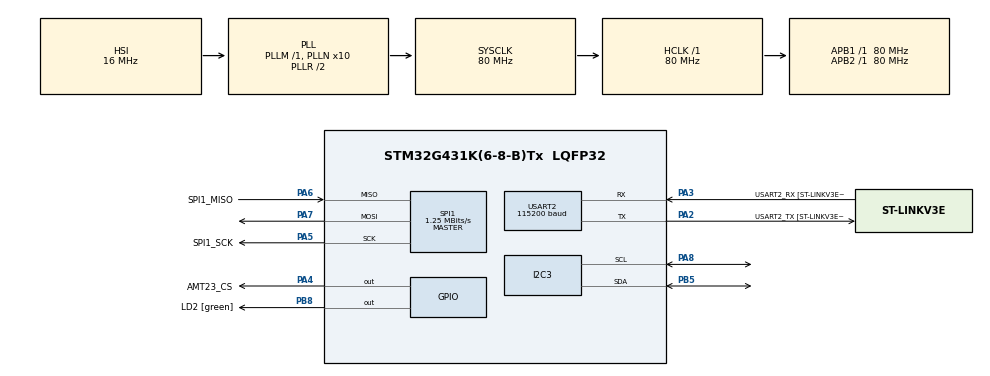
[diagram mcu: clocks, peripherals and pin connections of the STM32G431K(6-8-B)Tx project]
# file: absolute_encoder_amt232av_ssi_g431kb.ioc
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I2C3.Timing=0x10D19CE4
Mcu.Family=STM32G4
Mcu.Name=STM32G431K(6-8-B)Tx
Mcu.Package=LQFP32
NVIC.PriorityGroup=NVIC_PRIORITYGROUP_4
NVIC.SPI1_IRQn=true\:0\:0\:false\:false\:true\:true\:true\:true
PA13.GPIO_Label=T_SWDIO
PA13.Mode=Serial_Wire
PA13.Signal=SYS_JTMS-SWDIO
PA14.GPIO_Label=T_SWCLK
PA14.Mode=Serial_Wire
PA14.Signal=SYS_JTCK-SWCLK
PA2.GPIO_Label=USART2_TX [ST-LINKV3E_VCP_RX]
PA2.Mode=Asynchronous
PA2.Signal=USART2_TX
PA3.GPIO_Label=USART2_RX [ST-LINKV3E_VCP_TX]
PA3.Mode=Asynchronous
PA3.Signal=USART2_RX
PA4.GPIO_Label=AMT23_CS
PA4.Signal=GPIO_Output
PA5.GPIO_Label=SPI1_SCK
PA5.Mode=Full_Duplex_Master
PA5.Signal=SPI1_SCK
PA6.GPIO_Label=SPI1_MISO
PA6.Mode=Full_Duplex_Master
PA6.Signal=SPI1_MISO
PA7.Mode=Full_Duplex_Master
PA7.Signal=SPI1_MOSI
PA8.Mode=I2C
PA8.Signal=I2C3_SCL
PB3.GPIO_Label=T_SWO
PB3.Signal=SYS_JTDO-SWO
PB5.Mode=I2C
PB5.Signal=I2C3_SDA
PB8-BOOT0.GPIO_Label=LD2 [green]
PB8-BOOT0.Signal=GPIO_Output
ProjectManager.HeapSize=0x200
ProjectManager.StackSize=0x400
ProjectManager.TargetToolchain=STM32CubeIDE
RCC.ADC12Freq_Value=80000000
RCC.AHBFreq_Value=80000000
RCC.APB1Freq_Value=80000000
RCC.APB1TimFreq_Value=80000000
RCC.APB2Freq_Value=80000000
RCC.APB2TimFreq_Value=80000000
RCC.CortexFreq_Value=80000000
RCC.EXTERNAL_CLOCK_VALUE=12288000
RCC.HCLKFreq_Value=80000000
RCC.HSE_VALUE=8000000
RCC.HSI48_VALUE=48000000
RCC.HSI_VALUE=16000000
RCC.LSE_VALUE=32768
RCC.PLLN=10
RCC.SYSCLKFreq_VALUE=80000000
RCC.SYSCLKSource=RCC_SYSCLKSOURCE_PLLCLK
RCC.USBFreq_Value=80000000
RCC.VCOOutputFreq_Value=160000000
SPI1.BaudRatePrescaler=SPI_BAUDRATEPRESCALER_64
SPI1.CLKPolarity=SPI_POLARITY_HIGH
SPI1.CalculateBaudRate=1.25 MBits/s
SPI1.DataSize=SPI_DATASIZE_16BIT
SPI1.Direction=SPI_DIRECTION_2LINES
SPI1.Mode=SPI_MODE_MASTER
SPI1.VirtualType=VM_MASTER
USART2.BaudRate=115200
USART2.VirtualMode-Asynchronous=VM_ASYNC
USART2.WordLength=WORDLENGTH_8B
VP_SYS_VS_DBSignals.Mode=DisableDeadBatterySignals
VP_TIM15_VS_ClockSourceINT.Mode=Internal
board=NUCLEO-G431KB

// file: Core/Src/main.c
/* USER CODE BEGIN Header */
/**
 ******************************************************************************
 * @file           : main.c
 * @brief          : Main program body
 ******************************************************************************
 * @attention
 *
 * Copyright (c) 2024 STMicroelectronics.
 * All rights reserved.
 *
 * This software is licensed under terms that can be found in the LICENSE file
 * in the root directory of this software component.
 * If no LICENSE file comes with this software, it is provided AS-IS.
 *
 ******************************************************************************
 */
/* USER CODE END Header */
#include "main.h"
#include "i2c.h"
#include "spi.h"
#include "tim.h"
#include "usart.h"
#include "gpio.h"

/* USER CODE BEGIN Includes */
#include <stdio.h>
#include <stdlib.h>
#include <string.h>

#include "ssd1306.h"
/* USER CODE END Includes */

/* USER CODE BEGIN PD */

#define HALF_WORD_TO_BINARY(byte)  \
  (byte & 0x8000 ? '1' : '0'), \
  (byte & 0x4000 ? '1' : '0'), \
  (byte & 0x2000 ? '1' : '0'), \
  (byte & 0x1000 ? '1' : '0'), \
  (byte & 0x0800 ? '1' : '0'), \
  (byte & 0x0400 ? '1' : '0'), \
  (byte & 0x0200 ? '1' : '0'), \
  (byte & 0x0100 ? '1' : '0'), \
  (byte & 0x0080 ? '1' : '0'), \
  (byte & 0x0040 ? '1' : '0'), \
  (byte & 0x0020 ? '1' : '0'), \
  (byte & 0x0010 ? '1' : '0'), \
  (byte & 0x0008 ? '1' : '0'), \
  (byte & 0x0004 ? '1' : '0'), \
  (byte & 0x0002 ? '1' : '0'), \
  (byte & 0x0001 ? '1' : '0')

//╔════════════════════════════════════════════════╗
#define NON_BLOCKING_MODE
//╚════════════════════════════════════════════════╝

#define ATM_REQUEST_PERIOD 100

/* USER CODE END PD */

/* USER CODE BEGIN PV */

uint16_t amt23_tx_16b;
volatile uint16_t amt23_rx_16b;
uint16_t amt32_position;

volatile uint8_t miso_line_state;

uint8_t UartMessage[256];
uint16_t MessageLength;

char lcd_line[64];

uint32_t AtmRequestSoftTimer;

volatile uint8_t amt_data_ready_flag = 0;

/* USER CODE END PV */

void SystemClock_Config(void);
/* USER CODE BEGIN PFP */
uint8_t IsAmtDataValid(uint16_t data);
void DelayOneTenthOfus(uint16_t one_tenth_of_us);
/* USER CODE END PFP */

int main(void)
{

	/* MCU Configuration--------------------------------------------------------*/

	/* Reset of all peripherals, Initializes the Flash interface and the Systick. */
	HAL_Init();

	/* Configure the system clock */
	SystemClock_Config();

	/* Initialize all configured peripherals */
	MX_GPIO_Init();
	MX_USART2_UART_Init();
	MX_I2C3_Init();
	MX_SPI1_Init();
	MX_TIM15_Init();
	/* USER CODE BEGIN 2 */

	HAL_TIM_Base_Start(&htim15);

	ssd1306_Init();

	ssd1306_Fill(Black);
	ssd1306_SetCursor(20, 0);
	ssd1306_WriteString("ufnalski.edu.pl", Font_6x8, White);
	ssd1306_SetCursor(13, 12);
	ssd1306_WriteString("Encoder [SSI, _IT]", Font_6x8, White);
	ssd1306_SetCursor(20, 24);
	ssd1306_WriteString("AMT232B-V demo", Font_6x8, White);

	ssd1306_UpdateScreen();

	AtmRequestSoftTimer = HAL_GetTick();

#ifdef NON_BLOCKING_MODE
	HAL_SPI_TransmitReceive_IT(&hspi1, (uint8_t*) (&amt23_tx_16b),
			(uint8_t*) (&amt23_rx_16b), 1);
#endif

	/* USER CODE END 2 */

	/* Infinite loop */
	/* USER CODE BEGIN WHILE */
	while (1)
	{

		if (HAL_GetTick() - AtmRequestSoftTimer > ATM_REQUEST_PERIOD)
		{
			AtmRequestSoftTimer = HAL_GetTick();

#ifdef NON_BLOCKING_MODE
			if (amt_data_ready_flag == 1)
			{
				amt_data_ready_flag = 0;

				HAL_UART_Transmit(&huart2, (uint8_t*) "\x1B[2J\x1B[H",
						sizeof("\x1B[2J\x1B[H"), 100);

				MessageLength =
						sprintf((char*) UartMessage,
								"\e[36m╔════════════════════════════════════════════════╗\e[37m\r\n");
				HAL_UART_Transmit(&huart2, UartMessage, MessageLength, 100);

				if (IsAmtDataValid(amt23_rx_16b) == 1)
				{

					MessageLength =
							sprintf((char*) UartMessage,
									"\e[36m║  AMT23 SSI raw reading:\e[37m 0b \e[32m%c%c \e[37m%c%c%c%c%c%c %c%c%c%c%c%c%c%c  \e[36m║\e[37m\r\n",
									HALF_WORD_TO_BINARY(amt23_rx_16b));
					HAL_UART_Transmit(&huart2, UartMessage, MessageLength, 100);

					MessageLength =
							sprintf((char*) UartMessage,
									"\e[36m║  \e[32mData OK.                                      \e[36m║\e[37m\r\n");
					HAL_UART_Transmit(&huart2, UartMessage, MessageLength, 100);

					amt32_position = amt23_rx_16b & 0x3FFF;
					sprintf(lcd_line, "Position (raw): %d   ", amt32_position);
					ssd1306_SetCursor(2, 40);
					ssd1306_WriteString(lcd_line, Font_6x8, White);
					sprintf(lcd_line, "Position (deg): %.1f   ",
							360.0f * ((float) amt32_position) / 16384.0f);
					ssd1306_SetCursor(2, 50);
					ssd1306_WriteString(lcd_line, Font_6x8, White);
					ssd1306_UpdateScreen();
				}
				else
				{
					MessageLength =
							sprintf((char*) UartMessage,
									"\e[36m║  AMT23 SSI raw reading:\e[37m 0b \e[31m%c%c \e[37m%c%c%c%c%c%c %c%c%c%c%c%c%c%c  \e[36m║\e[37m\r\n",
									HALF_WORD_TO_BINARY(amt23_rx_16b));
					HAL_UART_Transmit(&huart2, UartMessage, MessageLength, 100);

					MessageLength =
							sprintf((char*) UartMessage,
									"\e[36m║  \e[31mData corrupted!                               \e[36m║\e[37m\r\n");
					HAL_UART_Transmit(&huart2, UartMessage, MessageLength, 100);
				}

				MessageLength =
						sprintf((char*) UartMessage,
								"\e[36m╚════════════════════════════════════════════════╝\e[37m\r\n");
				HAL_UART_Transmit(&huart2, UartMessage, MessageLength, 100);

				HAL_GPIO_WritePin(AMT23_CS_GPIO_Port, AMT23_CS_Pin,
						GPIO_PIN_RESET);
				HAL_SPI_TransmitReceive_IT(&hspi1, (uint8_t*) (&amt23_tx_16b),
						(uint8_t*) (&amt23_rx_16b), 1);

			}
#else

			HAL_GPIO_WritePin(AMT23_CS_GPIO_Port, AMT23_CS_Pin, GPIO_PIN_RESET);
			DelayOneTenthOfus(5);

			HAL_SPI_TransmitReceive(&hspi1, (uint8_t*) (&amt23_tx_16b),
					(uint8_t*) (&amt23_rx_16b), 1, 10);
			miso_line_state = HAL_GPIO_ReadPin(SPI1_MISO_GPIO_Port,
					SPI1_MISO_Pin);

			amt23_rx_16b <<= 1;
			amt23_rx_16b |= (uint16_t) (miso_line_state == GPIO_PIN_SET);

			HAL_GPIO_WritePin(AMT23_CS_GPIO_Port, AMT23_CS_Pin, GPIO_PIN_SET);
			DelayOneTenthOfus(10);

			HAL_UART_Transmit(&huart2, (uint8_t*) "\x1B[2J\x1B[H",
					sizeof("\x1B[2J\x1B[H"), 100);

			MessageLength =
					sprintf((char*) UartMessage,
							"\e[36m╔════════════════════════════════════════════════╗\e[37m\r\n");
			HAL_UART_Transmit(&huart2, UartMessage, MessageLength, 100);

			if (IsAmtDataValid(amt23_rx_16b) == 1)
			{

				MessageLength =
						sprintf((char*) UartMessage,
								"\e[36m║  AMT23 SSI raw reading:\e[37m 0b \e[32m%c%c \e[37m%c%c%c%c%c%c %c%c%c%c%c%c%c%c  \e[36m║\e[37m\r\n",
								HALF_WORD_TO_BINARY(amt23_rx_16b));

				HAL_UART_Transmit(&huart2, UartMessage, MessageLength, 100);

				MessageLength =
						sprintf((char*) UartMessage,
								"\e[36m║  \e[32mData OK.                                      \e[36m║\e[37m\r\n");
				HAL_UART_Transmit(&huart2, UartMessage, MessageLength, 100);

				amt32_position = amt23_rx_16b & 0x3FFF;
				sprintf(lcd_line, "Position (raw): %d   ", amt32_position);
				ssd1306_SetCursor(2, 40);
				ssd1306_WriteString(lcd_line, Font_6x8, White);
				sprintf(lcd_line, "Position (deg): %.1f   ",
						360.0f * ((float) amt32_position) / 16384.0f);
				ssd1306_SetCursor(2, 50);
				ssd1306_WriteString(lcd_line, Font_6x8, White);
				ssd1306_UpdateScreen();
			}
			else
			{
				MessageLength =
						sprintf((char*) UartMessage,
								"\e[36m║  AMT23 SSI raw reading:\e[37m 0b \e[31m%c%c \e[37m%c%c%c%c%c%c %c%c%c%c%c%c%c%c  \e[36m║\e[37m\r\n",
								HALF_WORD_TO_BINARY(amt23_rx_16b));
				HAL_UART_Transmit(&huart2, UartMessage, MessageLength, 100);

				MessageLength =
						sprintf((char*) UartMessage,
								"\e[36m║  \e[31mData corrupted!                               \e[36m║\e[37m\r\n");
				HAL_UART_Transmit(&huart2, UartMessage, MessageLength, 100);
			}

			MessageLength =
					sprintf((char*) UartMessage,
							"\e[36m╚════════════════════════════════════════════════╝\e[37m\r\n");
			HAL_UART_Transmit(&huart2, UartMessage, MessageLength, 100);
#endif
		}
		/* USER CODE END WHILE */

	}
}

void SystemClock_Config(void)
{
	RCC_OscInitTypeDef RCC_OscInitStruct =
	{ 0 };
	RCC_ClkInitTypeDef RCC_ClkInitStruct =
	{ 0 };

	/** Configure the main internal regulator output voltage
	 */
	HAL_PWREx_ControlVoltageScaling(PWR_REGULATOR_VOLTAGE_SCALE1);

	/** Initializes the RCC Oscillators according to the specified parameters
	 * in the RCC_OscInitTypeDef structure.
	 */
	RCC_OscInitStruct.OscillatorType = RCC_OSCILLATORTYPE_HSI;
	RCC_OscInitStruct.HSIState = RCC_HSI_ON;
	RCC_OscInitStruct.HSICalibrationValue = RCC_HSICALIBRATION_DEFAULT;
	RCC_OscInitStruct.PLL.PLLState = RCC_PLL_ON;
	RCC_OscInitStruct.PLL.PLLSource = RCC_PLLSOURCE_HSI;
	RCC_OscInitStruct.PLL.PLLM = RCC_PLLM_DIV1;
	RCC_OscInitStruct.PLL.PLLN = 10;
	RCC_OscInitStruct.PLL.PLLP = RCC_PLLP_DIV2;
	RCC_OscInitStruct.PLL.PLLQ = RCC_PLLQ_DIV2;
	RCC_OscInitStruct.PLL.PLLR = RCC_PLLR_DIV2;
	if (HAL_RCC_OscConfig(&RCC_OscInitStruct) != HAL_OK)
	{
		Error_Handler();
	}

	/** Initializes the CPU, AHB and APB buses clocks
	 */
	RCC_ClkInitStruct.ClockType = RCC_CLOCKTYPE_HCLK | RCC_CLOCKTYPE_SYSCLK
			| RCC_CLOCKTYPE_PCLK1 | RCC_CLOCKTYPE_PCLK2;
	RCC_ClkInitStruct.SYSCLKSource = RCC_SYSCLKSOURCE_PLLCLK;
	RCC_ClkInitStruct.AHBCLKDivider = RCC_SYSCLK_DIV1;
	RCC_ClkInitStruct.APB1CLKDivider = RCC_HCLK_DIV1;
	RCC_ClkInitStruct.APB2CLKDivider = RCC_HCLK_DIV1;

	if (HAL_RCC_ClockConfig(&RCC_ClkInitStruct, FLASH_LATENCY_2) != HAL_OK)
	{
		Error_Handler();
	}
}

/* USER CODE BEGIN 4 */
uint8_t IsAmtDataValid(uint16_t data)
{
	uint8_t csum0 = 0;
	uint8_t csum1 = 0;
	for (uint8_t i = 0; i < 8; i++)
	{
		csum0 ^= (data >> i * 2) & 1;
		csum1 ^= (data >> (i * 2 + 1)) & 1;
	}
	return (csum0 && csum1);
}

void DelayOneTenthOfus(uint16_t one_tenth_of_us)
{
	__HAL_TIM_SET_COUNTER(&htim15, 0);
	while (__HAL_TIM_GET_COUNTER(&htim15) < one_tenth_of_us)
	{
		;  // wait
	}
}

#ifdef NON_BLOCKING_MODE
void HAL_SPI_TxRxCpltCallback(SPI_HandleTypeDef *hspi)
{
	if (hspi->Instance == SPI1)
	{
		miso_line_state = HAL_GPIO_ReadPin(SPI1_MISO_GPIO_Port,
		SPI1_MISO_Pin);
		HAL_GPIO_WritePin(AMT23_CS_GPIO_Port, AMT23_CS_Pin, GPIO_PIN_SET);
		amt23_rx_16b <<= 1;
		amt23_rx_16b |= (uint16_t) (miso_line_state == GPIO_PIN_SET);
		amt_data_ready_flag = 1;
	}
}
#endif
/* USER CODE END 4 */

void Error_Handler(void)
{
	__disable_irq();
	while (1)
	{
	}
}
